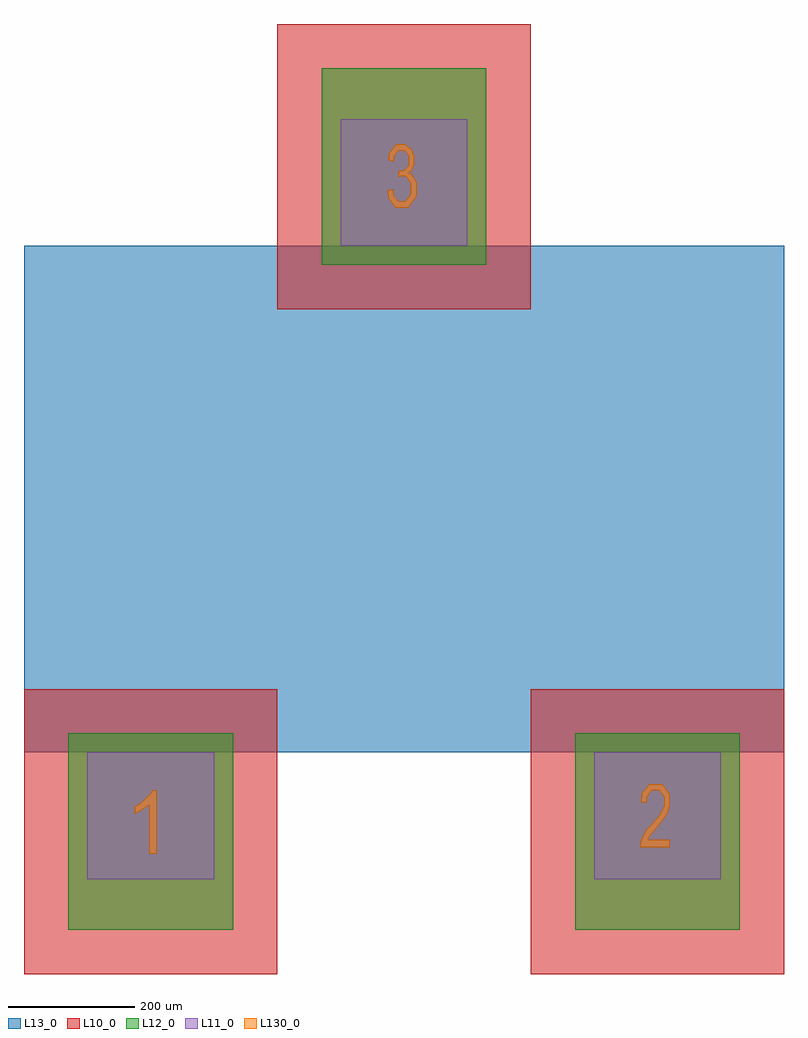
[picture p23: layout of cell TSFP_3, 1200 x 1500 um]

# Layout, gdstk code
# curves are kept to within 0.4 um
import gdstk
lib = gdstk.Library(unit=1e-6, precision=1e-09)
def R(c, l, rs):  # rectangles x0, y0, x1, y1
    for r in rs: c.add(gdstk.rectangle(r[:2], r[2:], *l))
def P(c, l, *ps):  # polygons
    for p in ps: c.add(gdstk.Polygon(p, *l))
L10_0 = (10, 0)
L11_0 = (11, 0)
L12_0 = (12, 0)
L13_0 = (13, 0)
L130_0 = (130, 0)

tsfp_3 = lib.new_cell('TSFP_3')
R(tsfp_3, L10_0, [(-600,-750,-200,-300), (200,-750,600,-300), (-200,300,200,750)])
R(tsfp_3, L11_0, [(-500,-600,-300,-400), (300,-600,500,-400), (-100,400,100,600)])
R(tsfp_3, L12_0, [(-530,-680,-270,-370), (270,-680,530,-370), (-130,370,130,680)])
R(tsfp_3, L13_0, [(-600,-400,600,400)])
P(tsfp_3, L130_0, [(385.064,-538.247),(386.513,-534.918),(390.955,-528.329),(408.144,-507.948),(416.207,-495.177),(419.684,-483.628),(419.684,-465.897),(407.806,-450),(387.527,-450),(375.553,-464.742),(374.635,-478.804),(383.568,-480.095),(383.616,-470.72),(391.148,-460.122),(403.364,-460.122),(410.751,-470.109),(410.751,-484.307),(402.639,-499.864),(383.664,-521.739),(375.794,-534.783),(372.897,-545.584),(372.994,-550),(419.78,-550),(419.78,-538.247)],
  [(-25.051,475.354),(-12.915,460),(6.455,460),(19.78,477.824),(19.78,500.12),(12.927,512.737),(6.74,514.74),(11.499,517.811),(16.353,528.224),(16.353,541.242),(11.261,553.124),(1.648,560),(-12.344,560),(-23.48,546.716),(-25.051,534.633),(-16.484,532.497),(-15.532,541.308),(-8.87,550.12),(1.172,550.12),(7.549,541.442),(7.549,526.489),(-1.208,518.478),(-8.061,518.611),(-9.012,508.064),(-5.395,509.399),(2.98,509.399),(10.69,498.651),(10.69,481.696),(2.362,469.947),(-8.774,469.947),(-15.866,478.959),(-17.341,489.172),(-25.907,487.57)],
  [(-390.22,-460),(-397.788,-460),(-400.855,-466.454),(-415.599,-480.177),(-425.451,-485),(-425.451,-496.821),(-419.97,-494.715),(-406.204,-486.291),(-401.964,-482.079),(-401.964,-560),(-390.22,-560)])

lib.write_gds('TSFP_3.gds')
